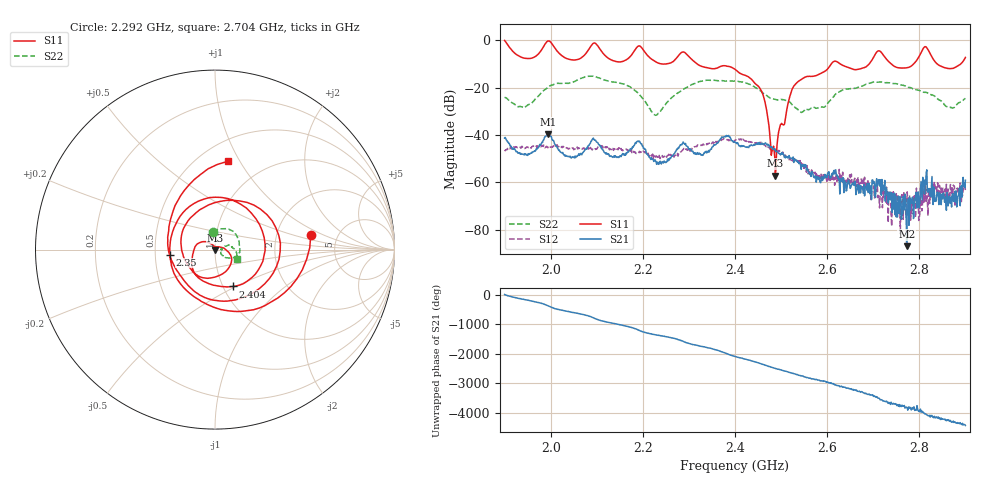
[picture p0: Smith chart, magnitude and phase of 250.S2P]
! C:\Users\rflab\Downloads\Lab5_KD_ZW\250.S2P
! Touchstone 1.1 file saved by VNA.EXE V1.65 (www.ke5fx.com/gpib/readme.htm)
! 11/12/2024 12:25:30 AM
!  Source: HEWLETT PACKARD,8753D,0,6.14
!  Min freq: 1.900000E+009 Hz
!  Max freq: 2.900000E+009 Hz
!  Points: 801
!  Params: S11 S21 S12 S22
# GHZ S RI R 50
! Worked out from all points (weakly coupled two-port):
!   801 points, 1.9 GHz to 2.9 GHz, reference 50 ohm
!   highest |S21| = -39.74 dB at 1.994 GHz (marker M1); lowest = -87.0 dB at 2.772 GHz (marker M2)
!   lowest |S11| = -57.1 dB at 2.487 GHz (marker M3), VSWR 1.00, Z = 50 - j0.14 ohm
!   |S11| at or under -10 dB: 2.318 GHz to 2.609 GHz (290.2 MHz wide, 11.8 % of centre); 2.629 GHz to 2.691 GHz (62 MHz wide, 2.33 % of centre); 2.839 GHz to 2.889 GHz (50.23 MHz wide, 1.75 % of centre) (the widest 3 of 4)
!   |S22| runs from -31.7 to -15.1 dB; largest |S21 - S12| = 0.0049
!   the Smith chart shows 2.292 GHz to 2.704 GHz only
!   S11 on the Smith chart (normalised r, x): 2.292 GHz: 3.16, +0.75; 2.35 GHz: 0.60, -0.04; 2.404 GHz: 1.11, -0.48; 2.704 GHz: 0.68, +0.89
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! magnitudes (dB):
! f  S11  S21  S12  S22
! 1.9 GHz  0.0  -41.3  -46.3  -24.0
! 1.948 GHz  -7.6  -48.3  -45.1  -27.7
! 1.994 GHz  -0.2  -39.7  -45.4  -19.8
! 2.067 GHz  -7.2  -48.3  -45.8  -15.9
! 2.095 GHz  -1.1  -42.2  -46.1  -15.3
! 2.154 GHz  -9.0  -48.6  -46.4  -18.2
! 2.191 GHz  -2.3  -42.8  -47.4  -22.6
! 2.234 GHz  -9.6  -52.4  -49.1  -30.8
! 2.292 GHz  -5.3  -43.5  -46.4  -20.1
! 2.35 GHz  -11.9  -45.2  -43.5  -16.8
! 2.4 GHz  -12.2  -43.0  -42.2  -17.1
! 2.404 GHz  -12.8  -43.6  -41.6  -17.1
! 2.458 GHz  -21.4  -43.4  -43.4  -21.7
! 2.487 GHz  -57.1  -46.6  -46.1  -24.9
! 2.525 GHz  -20.2  -50.1  -50.4  -27.4
! 2.567 GHz  -15.2  -55.6  -55.5  -28.2
! 2.704 GHz  -6.1  -65.2  -65.6  -17.6
! 2.734 GHz  -9.0  -64.2  -64.3  -17.9
! 2.772 GHz  -11.5  -87.0  -70.6  -19.6
! 2.812 GHz  -2.6  -58.9  -67.4  -21.9
! 2.862 GHz  -11.9  -69.9  -62.8  -28.2
! 2.9 GHz  -7.2  -59.1  -63.3  -24.5
